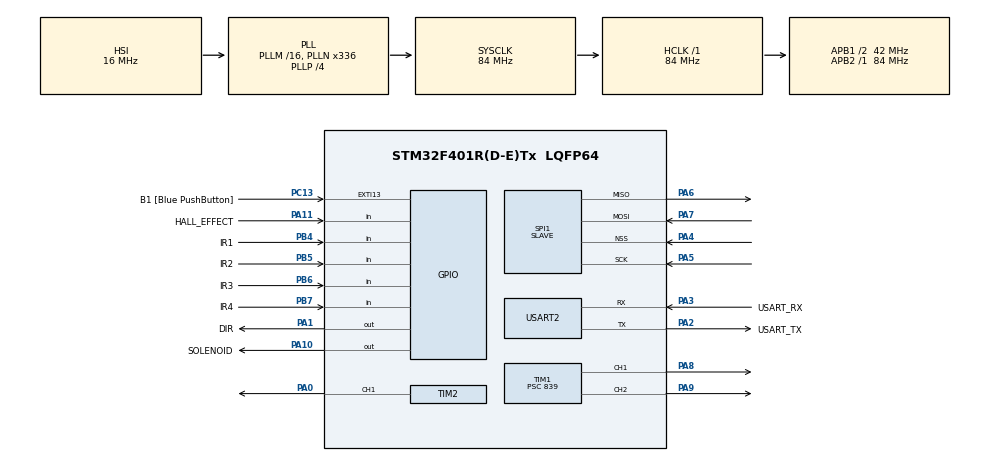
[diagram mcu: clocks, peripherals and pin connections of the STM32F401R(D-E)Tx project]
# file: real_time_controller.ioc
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Mcu.Family=STM32F4
Mcu.Name=STM32F401R(D-E)Tx
Mcu.Package=LQFP64
NVIC.PriorityGroup=NVIC_PRIORITYGROUP_4
PA0-WKUP.GPIO_Speed=GPIO_SPEED_FREQ_HIGH
PA0-WKUP.Signal=S_TIM2_CH1_ETR
PA1.GPIO_Label=DIR
PA1.Signal=GPIO_Output
PA10.GPIO_Label=SOLENOID
PA10.GPIO_Speed=GPIO_SPEED_FREQ_LOW
PA10.Signal=GPIO_Output
PA11.GPIO_Label=HALL_EFFECT
PA11.GPIO_PuPd=GPIO_PULLUP
PA11.Signal=GPIO_Input
PA13.GPIO_Label=TMS
PA13.Mode=Trace_Asynchronous_SW
PA13.Signal=SYS_JTMS-SWDIO
PA14.GPIO_Label=TCK
PA14.Mode=Trace_Asynchronous_SW
PA14.Signal=SYS_JTCK-SWCLK
PA2.GPIO_Label=USART_TX
PA2.GPIO_Mode=GPIO_MODE_AF_PP
PA2.GPIO_PuPd=GPIO_NOPULL
PA2.GPIO_Speed=GPIO_SPEED_FREQ_LOW
PA2.Mode=Asynchronous
PA2.Signal=USART2_TX
PA3.GPIO_Label=USART_RX
PA3.GPIO_Mode=GPIO_MODE_AF_PP
PA3.GPIO_PuPd=GPIO_NOPULL
PA3.GPIO_Speed=GPIO_SPEED_FREQ_LOW
PA3.Mode=Asynchronous
PA3.Signal=USART2_RX
PA4.Mode=NSS_Signal_Hard_Input
PA4.Signal=SPI1_NSS
PA5.Mode=Full_Duplex_Slave
PA5.Signal=SPI1_SCK
PA6.Mode=Full_Duplex_Slave
PA6.Signal=SPI1_MISO
PA7.Mode=Full_Duplex_Slave
PA7.Signal=SPI1_MOSI
PA8.GPIO_Speed=GPIO_SPEED_FREQ_MEDIUM
PA8.Signal=S_TIM1_CH1
PA9.GPIO_Speed=GPIO_SPEED_FREQ_MEDIUM
PA9.Signal=S_TIM1_CH2
PB3.GPIO_Label=SWO
PB3.Mode=Trace_Asynchronous_SW
PB3.Signal=SYS_JTDO-SWO
PB4.GPIO_Label=IR1
PB4.GPIO_PuPd=GPIO_PULLUP
PB4.Signal=GPIO_Input
PB5.GPIO_Label=IR2
PB5.GPIO_PuPd=GPIO_PULLUP
PB5.Signal=GPIO_Input
PB6.GPIO_Label=IR3
PB6.GPIO_PuPd=GPIO_PULLUP
PB6.Signal=GPIO_Input
PB7.GPIO_Label=IR4
PB7.GPIO_PuPd=GPIO_PULLUP
PB7.Signal=GPIO_Input
PC13-ANTI_TAMP.GPIO_Label=B1 [Blue PushButton]
PC13-ANTI_TAMP.GPIO_ModeDefaultEXTI=GPIO_MODE_IT_FALLING
PC13-ANTI_TAMP.GPIO_PuPd=GPIO_NOPULL
PC13-ANTI_TAMP.Signal=GPXTI13
PC14-OSC32_IN.Mode=LSE-External-Oscillator
PC14-OSC32_IN.Signal=RCC_OSC32_IN
PC15-OSC32_OUT.Mode=LSE-External-Oscillator
PC15-OSC32_OUT.Signal=RCC_OSC32_OUT
PH0\ -\ OSC_IN.Mode=HSE-External-Clock-Source
PH0\ -\ OSC_IN.Signal=RCC_OSC_IN
PH1\ -\ OSC_OUT.Mode=HSE-External-Clock-Source
PH1\ -\ OSC_OUT.Signal=RCC_OSC_OUT
ProjectManager.HeapSize=0x200
ProjectManager.StackSize=0x400
ProjectManager.TargetToolchain=STM32CubeIDE
RCC.48MHZClocksFreq_Value=48000000
RCC.AHBFreq_Value=84000000
RCC.APB1CLKDivider=RCC_HCLK_DIV2
RCC.APB1Freq_Value=42000000
RCC.APB1TimFreq_Value=84000000
RCC.APB2Freq_Value=84000000
RCC.APB2TimFreq_Value=84000000
RCC.CortexFreq_Value=84000000
RCC.HCLKFreq_Value=84000000
RCC.HSE_VALUE=8000000
RCC.HSI_VALUE=16000000
RCC.PLLN=336
RCC.PLLP=RCC_PLLP_DIV4
RCC.PLLQ=7
RCC.SYSCLKFreq_VALUE=84000000
RCC.SYSCLKSource=RCC_SYSCLKSOURCE_PLLCLK
RCC.VCOOutputFreq_Value=336000000
SH.S_TIM1_CH1.0=TIM1_CH1,PWM Generation1 CH1
SH.S_TIM1_CH2.0=TIM1_CH2,PWM Generation2 CH2
SH.S_TIM2_CH1_ETR.0=TIM2_CH1,PWM Generation1 CH1
SPI1.Direction=SPI_DIRECTION_2LINES
SPI1.Mode=SPI_MODE_SLAVE
SPI1.VirtualNSS=VM_NSSHARD
SPI1.VirtualType=VM_SLAVE
TIM1.Channel-PWM\ Generation1\ CH1=TIM_CHANNEL_1
TIM1.Channel-PWM\ Generation2\ CH2=TIM_CHANNEL_2
TIM1.Period=1999
TIM1.Prescaler=839
TIM1.Pulse-PWM\ Generation1\ CH1=150
TIM1.Pulse-PWM\ Generation2\ CH2=150
TIM1.RepetitionCounter=0
TIM2.Channel-PWM\ Generation1\ CH1=TIM_CHANNEL_1
TIM2.Period=99
TIM2.Prescaler=83
USART2.VirtualMode=VM_ASYNC
VP_TIM1_VS_ClockSourceINT.Mode=Internal
VP_TIM2_VS_ClockSourceINT.Mode=Internal
board=NUCLEO-F401RE

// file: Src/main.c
/* USER CODE BEGIN Header */
/**
  ******************************************************************************
  * @file           : main.c
  * @brief          : Main program body
  ******************************************************************************
  * @attention
  *
  * Copyright (c) 2026 STMicroelectronics.
  * All rights reserved.
  *
  * This software is licensed under terms that can be found in the LICENSE file
  * in the root directory of this software component.
  * If no LICENSE file comes with this software, it is provided AS-IS.
  *
  ******************************************************************************
  */
/* USER CODE END Header */
#include "main.h"

/* USER CODE BEGIN Includes */
#include <stdbool.h>

/* USER CODE END Includes */

/* USER CODE BEGIN PTD */

#define SPI_FRAME_SIZE 3

// Command Codes
#define CMD_ROTATE_TO_SLOT    0x10
#define CMD_EJECT_CARD        0x11
#define CMD_LATCH_CARD        0x12
#define CMD_RELEASE_LATCH     0x13
#define CMD_LOCK_DOOR         0x20
#define CMD_UNLOCK_DOOR       0x21
#define CMD_FEED_CARD         0x30
#define CMD_DIVERT_REJECT     0x31
#define CMD_GET_SENSOR_STATE  0x40
#define CMD_HOME_CAROUSEL     0x41

// Response Codes
#define RESP_ACK              0x00
#define RESP_NACK             0x01
#define RESP_BUSY             0x02
#define RESP_SENSOR_STATE     0x03
#define RESP_ERROR            0x04

#define STEPPER_STEPS_PER_REV 200U

/* USER CODE END PTD */

SPI_HandleTypeDef hspi1;

TIM_HandleTypeDef htim1;
TIM_HandleTypeDef htim2;

UART_HandleTypeDef huart2;

/* USER CODE BEGIN PV */

uint8_t spi_rx_buf[3] = {0};
uint8_t spi_tx_buf[3] = {RESP_ACK, 0x00, 0x00};  // Pre-load with default ACK
uint8_t rx_byte_count = 0;
uint8_t spi_frame_ready = 0;

static volatile uint32_t stepper_target_steps = 0U;
static volatile uint32_t stepper_completed_steps = 0U;
static volatile uint8_t stepper_busy = 0U;

/* USER CODE END PV */

void SystemClock_Config(void);
static void MX_GPIO_Init(void);
static void MX_USART2_UART_Init(void);
static void MX_SPI1_Init(void);
static void MX_TIM1_Init(void);
static void MX_TIM2_Init(void);
/* USER CODE BEGIN PFP */
HAL_StatusTypeDef stepper_init(void);
HAL_StatusTypeDef stepper_set_direction(bool clockwise);
HAL_StatusTypeDef stepper_start_continuous(bool clockwise);
void stepper_stop(void);
HAL_StatusTypeDef stepper_rotate_steps(uint32_t steps, bool clockwise);
HAL_StatusTypeDef stepper_rotate_revolutions(uint32_t revolutions, bool clockwise);
void HAL_TIM_PeriodElapsedCallback(TIM_HandleTypeDef *htim);

/* USER CODE END PFP */

int main(void)
{

  /* MCU Configuration--------------------------------------------------------*/

  /* Reset of all peripherals, Initializes the Flash interface and the Systick. */
  HAL_Init();

  /* Configure the system clock */
  SystemClock_Config();

  /* Initialize all configured peripherals */
  MX_GPIO_Init();
  MX_USART2_UART_Init();
  MX_SPI1_Init();
  MX_TIM1_Init();
  MX_TIM2_Init();
  /* USER CODE BEGIN 2 */

  // Start SPI1 in interrupt mode - listen from Pi
  HAL_SPI_TransmitReceive_IT(&hspi1, spi_tx_buf, spi_rx_buf, SPI_FRAME_SIZE);
  stepper_init();
  stepper_start_continuous(true);

  /* USER CODE END 2 */

  /* Infinite loop */
  while (1)
  {

  }
}

void SystemClock_Config(void)
{
  RCC_OscInitTypeDef RCC_OscInitStruct = {0};
  RCC_ClkInitTypeDef RCC_ClkInitStruct = {0};

  /** Configure the main internal regulator output voltage
  */
  __HAL_RCC_PWR_CLK_ENABLE();
  __HAL_PWR_VOLTAGESCALING_CONFIG(PWR_REGULATOR_VOLTAGE_SCALE2);

  /** Initializes the RCC Oscillators according to the specified parameters
  * in the RCC_OscInitTypeDef structure.
  */
  RCC_OscInitStruct.OscillatorType = RCC_OSCILLATORTYPE_HSI;
  RCC_OscInitStruct.HSIState = RCC_HSI_ON;
  RCC_OscInitStruct.HSICalibrationValue = RCC_HSICALIBRATION_DEFAULT;
  RCC_OscInitStruct.PLL.PLLState = RCC_PLL_ON;
  RCC_OscInitStruct.PLL.PLLSource = RCC_PLLSOURCE_HSI;
  RCC_OscInitStruct.PLL.PLLM = 16;
  RCC_OscInitStruct.PLL.PLLN = 336;
  RCC_OscInitStruct.PLL.PLLP = RCC_PLLP_DIV4;
  RCC_OscInitStruct.PLL.PLLQ = 7;
  if (HAL_RCC_OscConfig(&RCC_OscInitStruct) != HAL_OK)
  {
    Error_Handler();
  }

  /** Initializes the CPU, AHB and APB buses clocks
  */
  RCC_ClkInitStruct.ClockType = RCC_CLOCKTYPE_HCLK|RCC_CLOCKTYPE_SYSCLK
                              |RCC_CLOCKTYPE_PCLK1|RCC_CLOCKTYPE_PCLK2;
  RCC_ClkInitStruct.SYSCLKSource = RCC_SYSCLKSOURCE_PLLCLK;
  RCC_ClkInitStruct.AHBCLKDivider = RCC_SYSCLK_DIV1;
  RCC_ClkInitStruct.APB1CLKDivider = RCC_HCLK_DIV2;
  RCC_ClkInitStruct.APB2CLKDivider = RCC_HCLK_DIV1;

  if (HAL_RCC_ClockConfig(&RCC_ClkInitStruct, FLASH_LATENCY_2) != HAL_OK)
  {
    Error_Handler();
  }
}

static void MX_SPI1_Init(void)
{

  /* SPI1 parameter configuration*/
  hspi1.Instance = SPI1;
  hspi1.Init.Mode = SPI_MODE_SLAVE;
  hspi1.Init.Direction = SPI_DIRECTION_2LINES;
  hspi1.Init.DataSize = SPI_DATASIZE_8BIT;
  hspi1.Init.CLKPolarity = SPI_POLARITY_LOW;
  hspi1.Init.CLKPhase = SPI_PHASE_1EDGE;
  hspi1.Init.NSS = SPI_NSS_HARD_INPUT;
  hspi1.Init.FirstBit = SPI_FIRSTBIT_MSB;
  hspi1.Init.TIMode = SPI_TIMODE_DISABLE;
  hspi1.Init.CRCCalculation = SPI_CRCCALCULATION_DISABLE;
  hspi1.Init.CRCPolynomial = 10;
  if (HAL_SPI_Init(&hspi1) != HAL_OK)
  {
    Error_Handler();
  }

}

static void MX_TIM1_Init(void)
{

  TIM_ClockConfigTypeDef sClockSourceConfig = {0};
  TIM_MasterConfigTypeDef sMasterConfig = {0};
  TIM_OC_InitTypeDef sConfigOC = {0};
  TIM_BreakDeadTimeConfigTypeDef sBreakDeadTimeConfig = {0};

  htim1.Instance = TIM1;
  htim1.Init.Prescaler = 839;
  htim1.Init.CounterMode = TIM_COUNTERMODE_UP;
  htim1.Init.Period = 1999;
  htim1.Init.ClockDivision = TIM_CLOCKDIVISION_DIV1;
  htim1.Init.RepetitionCounter = 0;
  htim1.Init.AutoReloadPreload = TIM_AUTORELOAD_PRELOAD_DISABLE;
  if (HAL_TIM_Base_Init(&htim1) != HAL_OK)
  {
    Error_Handler();
  }
  sClockSourceConfig.ClockSource = TIM_CLOCKSOURCE_INTERNAL;
  if (HAL_TIM_ConfigClockSource(&htim1, &sClockSourceConfig) != HAL_OK)
  {
    Error_Handler();
  }
  if (HAL_TIM_PWM_Init(&htim1) != HAL_OK)
  {
    Error_Handler();
  }
  sMasterConfig.MasterOutputTrigger = TIM_TRGO_RESET;
  sMasterConfig.MasterSlaveMode = TIM_MASTERSLAVEMODE_DISABLE;
  if (HAL_TIMEx_MasterConfigSynchronization(&htim1, &sMasterConfig) != HAL_OK)
  {
    Error_Handler();
  }
  sConfigOC.OCMode = TIM_OCMODE_PWM1;
  sConfigOC.Pulse = 150;
  sConfigOC.OCPolarity = TIM_OCPOLARITY_HIGH;
  sConfigOC.OCNPolarity = TIM_OCNPOLARITY_HIGH;
  sConfigOC.OCFastMode = TIM_OCFAST_DISABLE;
  sConfigOC.OCIdleState = TIM_OCIDLESTATE_RESET;
  sConfigOC.OCNIdleState = TIM_OCNIDLESTATE_RESET;
  if (HAL_TIM_PWM_ConfigChannel(&htim1, &sConfigOC, TIM_CHANNEL_1) != HAL_OK)
  {
    Error_Handler();
  }
  if (HAL_TIM_PWM_ConfigChannel(&htim1, &sConfigOC, TIM_CHANNEL_2) != HAL_OK)
  {
    Error_Handler();
  }
  sBreakDeadTimeConfig.OffStateRunMode = TIM_OSSR_DISABLE;
  sBreakDeadTimeConfig.OffStateIDLEMode = TIM_OSSI_DISABLE;
  sBreakDeadTimeConfig.LockLevel = TIM_LOCKLEVEL_OFF;
  sBreakDeadTimeConfig.DeadTime = 0;
  sBreakDeadTimeConfig.BreakState = TIM_BREAK_DISABLE;
  sBreakDeadTimeConfig.BreakPolarity = TIM_BREAKPOLARITY_HIGH;
  sBreakDeadTimeConfig.AutomaticOutput = TIM_AUTOMATICOUTPUT_DISABLE;
  if (HAL_TIMEx_ConfigBreakDeadTime(&htim1, &sBreakDeadTimeConfig) != HAL_OK)
  {
    Error_Handler();
  }
  HAL_TIM_MspPostInit(&htim1);

}

static void MX_TIM2_Init(void)
{

  TIM_ClockConfigTypeDef sClockSourceConfig = {0};
  TIM_MasterConfigTypeDef sMasterConfig = {0};
  TIM_OC_InitTypeDef sConfigOC = {0};

  htim2.Instance = TIM2;
  htim2.Init.Prescaler = 83;
  htim2.Init.CounterMode = TIM_COUNTERMODE_UP;
  htim2.Init.Period = 999;
  htim2.Init.ClockDivision = TIM_CLOCKDIVISION_DIV1;
  htim2.Init.AutoReloadPreload = TIM_AUTORELOAD_PRELOAD_DISABLE;
  if (HAL_TIM_Base_Init(&htim2) != HAL_OK)
  {
    Error_Handler();
  }
  sClockSourceConfig.ClockSource = TIM_CLOCKSOURCE_INTERNAL;
  if (HAL_TIM_ConfigClockSource(&htim2, &sClockSourceConfig) != HAL_OK)
  {
    Error_Handler();
  }
  if (HAL_TIM_PWM_Init(&htim2) != HAL_OK)
  {
    Error_Handler();
  }
  sMasterConfig.MasterOutputTrigger = TIM_TRGO_RESET;
  sMasterConfig.MasterSlaveMode = TIM_MASTERSLAVEMODE_DISABLE;
  if (HAL_TIMEx_MasterConfigSynchronization(&htim2, &sMasterConfig) != HAL_OK)
  {
    Error_Handler();
  }
  sConfigOC.OCMode = TIM_OCMODE_PWM1;
  sConfigOC.Pulse = 500;
  sConfigOC.OCPolarity = TIM_OCPOLARITY_HIGH;
  sConfigOC.OCFastMode = TIM_OCFAST_DISABLE;
  if (HAL_TIM_PWM_ConfigChannel(&htim2, &sConfigOC, TIM_CHANNEL_1) != HAL_OK)
  {
    Error_Handler();
  }
  HAL_TIM_MspPostInit(&htim2);

}

static void MX_USART2_UART_Init(void)
{

  huart2.Instance = USART2;
  huart2.Init.BaudRate = 115200;
  huart2.Init.WordLength = UART_WORDLENGTH_8B;
  huart2.Init.StopBits = UART_STOPBITS_1;
  huart2.Init.Parity = UART_PARITY_NONE;
  huart2.Init.Mode = UART_MODE_TX_RX;
  huart2.Init.HwFlowCtl = UART_HWCONTROL_NONE;
  huart2.Init.OverSampling = UART_OVERSAMPLING_16;
  if (HAL_UART_Init(&huart2) != HAL_OK)
  {
    Error_Handler();
  }

}

static void MX_GPIO_Init(void)
{
  GPIO_InitTypeDef GPIO_InitStruct = {0};

  /* GPIO Ports Clock Enable */
  __HAL_RCC_GPIOC_CLK_ENABLE();
  __HAL_RCC_GPIOH_CLK_ENABLE();
  __HAL_RCC_GPIOA_CLK_ENABLE();
  __HAL_RCC_GPIOB_CLK_ENABLE();
  __HAL_RCC_GPIOD_CLK_ENABLE();

  /*Configure GPIO pin Output Level */
  HAL_GPIO_WritePin(SOLENOID_GPIO_Port, SOLENOID_Pin, GPIO_PIN_RESET);

  /*Configure GPIO pin : B1_Pin */
  GPIO_InitStruct.Pin = B1_Pin;
  GPIO_InitStruct.Mode = GPIO_MODE_IT_FALLING;
  GPIO_InitStruct.Pull = GPIO_NOPULL;
  HAL_GPIO_Init(B1_GPIO_Port, &GPIO_InitStruct);

  /*Configure GPIO pins : PC0 PC1 PC2 PC3
                           PC4 PC5 PC6 PC7
                           PC8 PC9 PC10 PC11
                           PC12 */
  GPIO_InitStruct.Pin = GPIO_PIN_0|GPIO_PIN_1|GPIO_PIN_2|GPIO_PIN_3
                          |GPIO_PIN_4|GPIO_PIN_5|GPIO_PIN_6|GPIO_PIN_7
                          |GPIO_PIN_8|GPIO_PIN_9|GPIO_PIN_10|GPIO_PIN_11
                          |GPIO_PIN_12;
  GPIO_InitStruct.Mode = GPIO_MODE_ANALOG;
  GPIO_InitStruct.Pull = GPIO_NOPULL;
  HAL_GPIO_Init(GPIOC, &GPIO_InitStruct);

  /*Configure GPIO pins : PA12 PA15 */
  GPIO_InitStruct.Pin = GPIO_PIN_12|GPIO_PIN_15;
  GPIO_InitStruct.Mode = GPIO_MODE_ANALOG;
  GPIO_InitStruct.Pull = GPIO_NOPULL;
  HAL_GPIO_Init(GPIOA, &GPIO_InitStruct);

  /*Configure GPIO pin : DIR_Pin */
  GPIO_InitStruct.Pin = DIR_Pin;
  GPIO_InitStruct.Mode = GPIO_MODE_OUTPUT_PP;
  GPIO_InitStruct.Pull = GPIO_NOPULL;
  GPIO_InitStruct.Speed = GPIO_SPEED_FREQ_LOW;
  HAL_GPIO_Init(DIR_GPIO_Port, &GPIO_InitStruct);
  HAL_GPIO_WritePin(DIR_GPIO_Port, DIR_Pin, GPIO_PIN_RESET);

  /*Configure GPIO pins : PB0 PB1 PB2 PB10
                           PB12 PB13 PB14 PB15
                           PB8 PB9 */
  GPIO_InitStruct.Pin = GPIO_PIN_0|GPIO_PIN_1|GPIO_PIN_2|GPIO_PIN_10
                          |GPIO_PIN_12|GPIO_PIN_13|GPIO_PIN_14|GPIO_PIN_15
                          |GPIO_PIN_8|GPIO_PIN_9;
  GPIO_InitStruct.Mode = GPIO_MODE_ANALOG;
  GPIO_InitStruct.Pull = GPIO_NOPULL;
  HAL_GPIO_Init(GPIOB, &GPIO_InitStruct);

  /*Configure GPIO pin : SOLENOID_Pin */
  GPIO_InitStruct.Pin = SOLENOID_Pin;
  GPIO_InitStruct.Mode = GPIO_MODE_OUTPUT_PP;
  GPIO_InitStruct.Pull = GPIO_NOPULL;
  GPIO_InitStruct.Speed = GPIO_SPEED_FREQ_LOW;
  HAL_GPIO_Init(SOLENOID_GPIO_Port, &GPIO_InitStruct);

  /*Configure GPIO pin : HALL_EFFECT_Pin */
  GPIO_InitStruct.Pin = HALL_EFFECT_Pin;
  GPIO_InitStruct.Mode = GPIO_MODE_INPUT;
  GPIO_InitStruct.Pull = GPIO_PULLUP;
  HAL_GPIO_Init(HALL_EFFECT_GPIO_Port, &GPIO_InitStruct);

  /*Configure GPIO pin : PD2 */
  GPIO_InitStruct.Pin = GPIO_PIN_2;
  GPIO_InitStruct.Mode = GPIO_MODE_ANALOG;
  GPIO_InitStruct.Pull = GPIO_NOPULL;
  HAL_GPIO_Init(GPIOD, &GPIO_InitStruct);

  /*Configure GPIO pins : IR1_Pin IR2_Pin IR3_Pin IR4_Pin */
  GPIO_InitStruct.Pin = IR1_Pin|IR2_Pin|IR3_Pin|IR4_Pin;
  GPIO_InitStruct.Mode = GPIO_MODE_INPUT;
  GPIO_InitStruct.Pull = GPIO_PULLUP;
  HAL_GPIO_Init(GPIOB, &GPIO_InitStruct);

}

/* USER CODE BEGIN 4 */

HAL_StatusTypeDef stepper_init(void)
{
  if (stepper_busy != 0U)
  {
    return HAL_BUSY;
  }

  HAL_GPIO_WritePin(DIR_GPIO_Port, DIR_Pin, GPIO_PIN_RESET);
  HAL_TIM_Base_Stop_IT(&htim2);
  HAL_TIM_PWM_Stop(&htim2, TIM_CHANNEL_1);
  __HAL_TIM_SET_COUNTER(&htim2, 0U);
  __HAL_TIM_SET_COMPARE(&htim2, TIM_CHANNEL_1, 0U);

  return HAL_OK;
}

HAL_StatusTypeDef stepper_set_direction(bool clockwise)
{
  HAL_GPIO_WritePin(DIR_GPIO_Port, DIR_Pin, clockwise ? GPIO_PIN_SET : GPIO_PIN_RESET);
  return HAL_OK;
}

void stepper_stop(void)
{
  __HAL_TIM_SET_COMPARE(&htim2, TIM_CHANNEL_1, 0U);
  HAL_TIM_Base_Stop_IT(&htim2);
  HAL_TIM_PWM_Stop(&htim2, TIM_CHANNEL_1);
  __HAL_TIM_SET_COUNTER(&htim2, 0U);
  HAL_GPIO_WritePin(STEP_GPIO_Port, STEP_Pin, GPIO_PIN_RESET);
  stepper_target_steps = 0U;
  stepper_completed_steps = 0U;
  stepper_busy = 0U;
}

HAL_StatusTypeDef stepper_start_continuous(bool clockwise)
{
  if (stepper_busy != 0U)
  {
    return HAL_BUSY;
  }

  stepper_busy = 1U;
  stepper_set_direction(clockwise);

  __HAL_TIM_SET_COUNTER(&htim2, 0U);
  __HAL_TIM_SET_COMPARE(&htim2, TIM_CHANNEL_1, htim2.Init.Period / 2U);

  if (HAL_TIM_PWM_Start(&htim2, TIM_CHANNEL_1) != HAL_OK)
  {
    stepper_busy = 0U;
    return HAL_ERROR;
  }

  return HAL_OK;
}

HAL_StatusTypeDef stepper_rotate_steps(uint32_t steps, bool clockwise)
{
  if (steps == 0U)
  {
    return HAL_OK;
  }

  if (stepper_busy != 0U)
  {
    return HAL_BUSY;
  }

  stepper_busy = 1U;
  stepper_target_steps = steps;
  stepper_completed_steps = 0U;

  stepper_set_direction(clockwise);

  __HAL_TIM_SET_COUNTER(&htim2, 0U);
  __HAL_TIM_SET_COMPARE(&htim2, TIM_CHANNEL_1, htim2.Init.Period / 2U);

  if (HAL_TIM_PWM_Start(&htim2, TIM_CHANNEL_1) != HAL_OK)
  {
    stepper_busy = 0U;
    return HAL_ERROR;
  }

  if (HAL_TIM_Base_Start_IT(&htim2) != HAL_OK)
  {
    HAL_TIM_PWM_Stop(&htim2, TIM_CHANNEL_1);
    stepper_busy = 0U;
    return HAL_ERROR;
  }

  while (stepper_busy != 0U)
  {
    __WFI();
  }

  return HAL_OK;
}

HAL_StatusTypeDef stepper_rotate_revolutions(uint32_t revolutions, bool clockwise)
{
  return stepper_rotate_steps(revolutions * STEPPER_STEPS_PER_REV, clockwise);
}

void HAL_TIM_PeriodElapsedCallback(TIM_HandleTypeDef *htim)
{
  if ((htim->Instance == TIM2) && (stepper_busy != 0U))
  {
    stepper_completed_steps++;
    if (stepper_completed_steps >= stepper_target_steps)
    {
      stepper_stop();
    }
  }
}

void route_command(uint8_t cmd_byte, uint8_t param_byte)
{
  switch (cmd_byte) {
    case 0x42:
    	spi_tx_buf[0] = cmd_byte;
    	spi_tx_buf[1] = param_byte;
    	spi_tx_buf[2] = cmd_byte ^ param_byte;
    	break;

    default:
    	spi_tx_buf[0] = RESP_NACK;
    	spi_tx_buf[1] = cmd_byte;
    	spi_tx_buf[2] = spi_tx_buf[0] ^ spi_tx_buf[1];
    	break;
  }
}

/* USER CODE END 4 */

void Error_Handler(void)
{
  __disable_irq();
  while (1)
  {
  }
}
